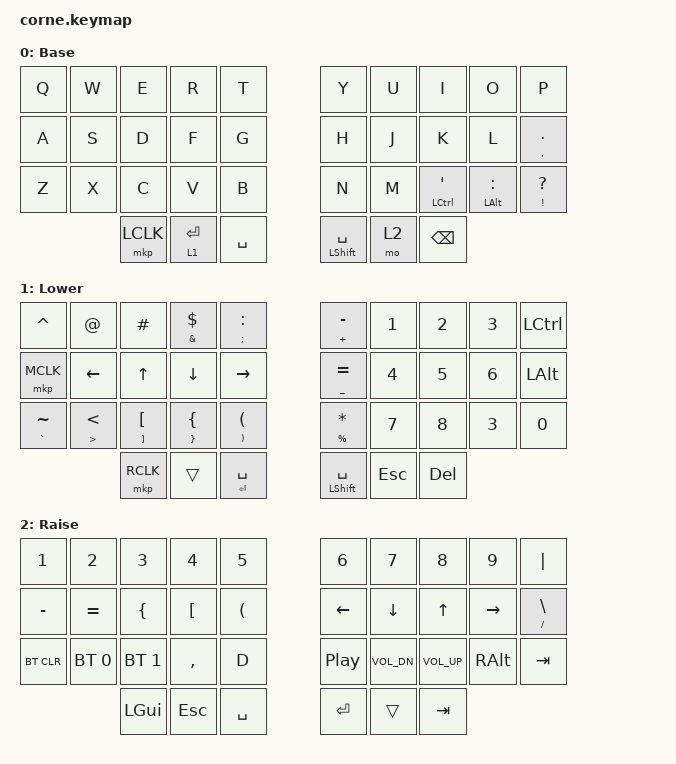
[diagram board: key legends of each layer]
/*
 * Copyright (c) 2020 The ZMK Contributors
 *
 * SPDX-License-Identifier: MIT
 */

#include <behaviors.dtsi>
#include <dt-bindings/zmk/bt.h>
#include <dt-bindings/zmk/keys.h>
#include <dt-bindings/zmk/mouse.h>

#define AS(keycode) &as LS(keycode) keycode

/ {
    chosen { zmk,matrix_transform = &five_column_transform; };

    combos { compatible = "zmk,combos"; };

    keymap {
        compatible = "zmk,keymap";

        default_layer {
            // -----------------------------------------------------------------------------------------
            // |  Q  |  W  |  E  |  R  |  T  |     |  Y  |  U   |  I   |  O   | P |
            // |  A  |  S  |  D  |  F  |  G  |     |  H  |  J   |  K   |  L   | ' | 
            // |  Z  |  X  |  C  |  V  |  B  |     |  N  |  M   | CTRL | META | . |
            //             | GUI | LWR | SPC |     | ENT | RSE  | BSPC |

            display-name = "Base";
            bindings = <
  &kp Q  &kp W  &kp E      &kp R        &kp T        &kp Y            &kp U  &kp I          &kp O           &kp P
  &kp A  &kp S  &kp D      &kp F        &kp G        &kp H            &kp J  &kp K          &kp L           &mt COMMA PERIOD
  &kp Z  &kp X  &kp C      &kp V        &kp B        &kp N            &kp M  &mt LCTRL SQT  &mt LALT COLON  &mt EXCLAMATION QUESTION
                &mkp LCLK  &lt 1 ENTER  &kp SPACE    &mt LSHFT SPACE  &mo 2  &kp BSPC
            >;
        };

        lower_layer {
            // -----------------------------------------------------------------------------------------
            // | !     |  @  |  #  |  $  |  %  |     |  ^  |  &  |  *  |  (  |  )  |
            // | BT1   | BT2 | BT3 | BT4 | BT5 |     | LFT | DWN |  UP | RGT |     |
            // | BTCLR |     |     |     |     |     |     |     |     |     |     |
            //               | GUI |     | SPC |     | ENT | ESC | TAB |

            display-name = "Lower";
            bindings = <
  &kp CARET        &kp AT                      &kp HASH                        &mt AMPERSAND DOLLAR        &mt SEMICOLON COLON                       &mt PLUS MINUS        &kp N1   &kp N2   &kp N3  &kp LCTRL
  &mkp MCLK        &kp LEFT                    &kp UP                          &kp DOWN                    &kp RIGHT                                 &mt UNDERSCORE EQUAL  &kp N4   &kp N5   &kp N6  &kp LEFT_ALT
  &mt GRAVE TILDE  &mt GREATER_THAN LESS_THAN  &mt RIGHT_BRACKET LEFT_BRACKET  &mt RIGHT_BRACE LEFT_BRACE  &mt RIGHT_PARENTHESIS LEFT_PARENTHESIS    &mt PERCENT ASTERISK  &kp N7   &kp N8   &kp N3  &kp N0
                                               &mkp RCLK                       &trans                      &mt ENTER SPACE                           &mt LSHFT SPACE       &kp ESC  &kp DEL
            >;
        };

        raise_layer {
            // -----------------------------------------------------------------------------------------
            // | 1  |  2  |  3  |  4  |  5  |     |  6  |  7  |  8  |  9   |  0   |
            // | -  |  =  |  {  |  [  |  (  |     |  )  |  ]  |  }  |  /   |  \   |
            // | `  |     |     |  ,  |  :  |     |  ;  |  .  | CTRL| META |      |
            //            | GUI | ESC | SPC |     | ENT |     | TAB |

            display-name = "Raise";
            bindings = <
  &kp N1      &kp N2        &kp N3        &kp N4     &kp N5       &kp N6            &kp N7        &kp N8        &kp N9     &kp PIPE
  &kp MINUS   &kp EQUAL     &kp LBRC      &kp LBKT   &kp LPAR     &kp LEFT_ARROW    &kp DOWN      &kp UP        &kp RIGHT  &mt SLASH BACKSLASH
  &bt BT_CLR  &bt BT_SEL 0  &bt BT_SEL 1  &kp COMMA  &kp D        &kp C_PLAY_PAUSE  &kp C_VOL_DN  &kp C_VOL_UP  &kp RALT   &kp TAB
                            &kp LGUI      &kp ESC    &kp SPACE    &kp RET           &trans        &kp TAB
            >;
        };
    };
};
